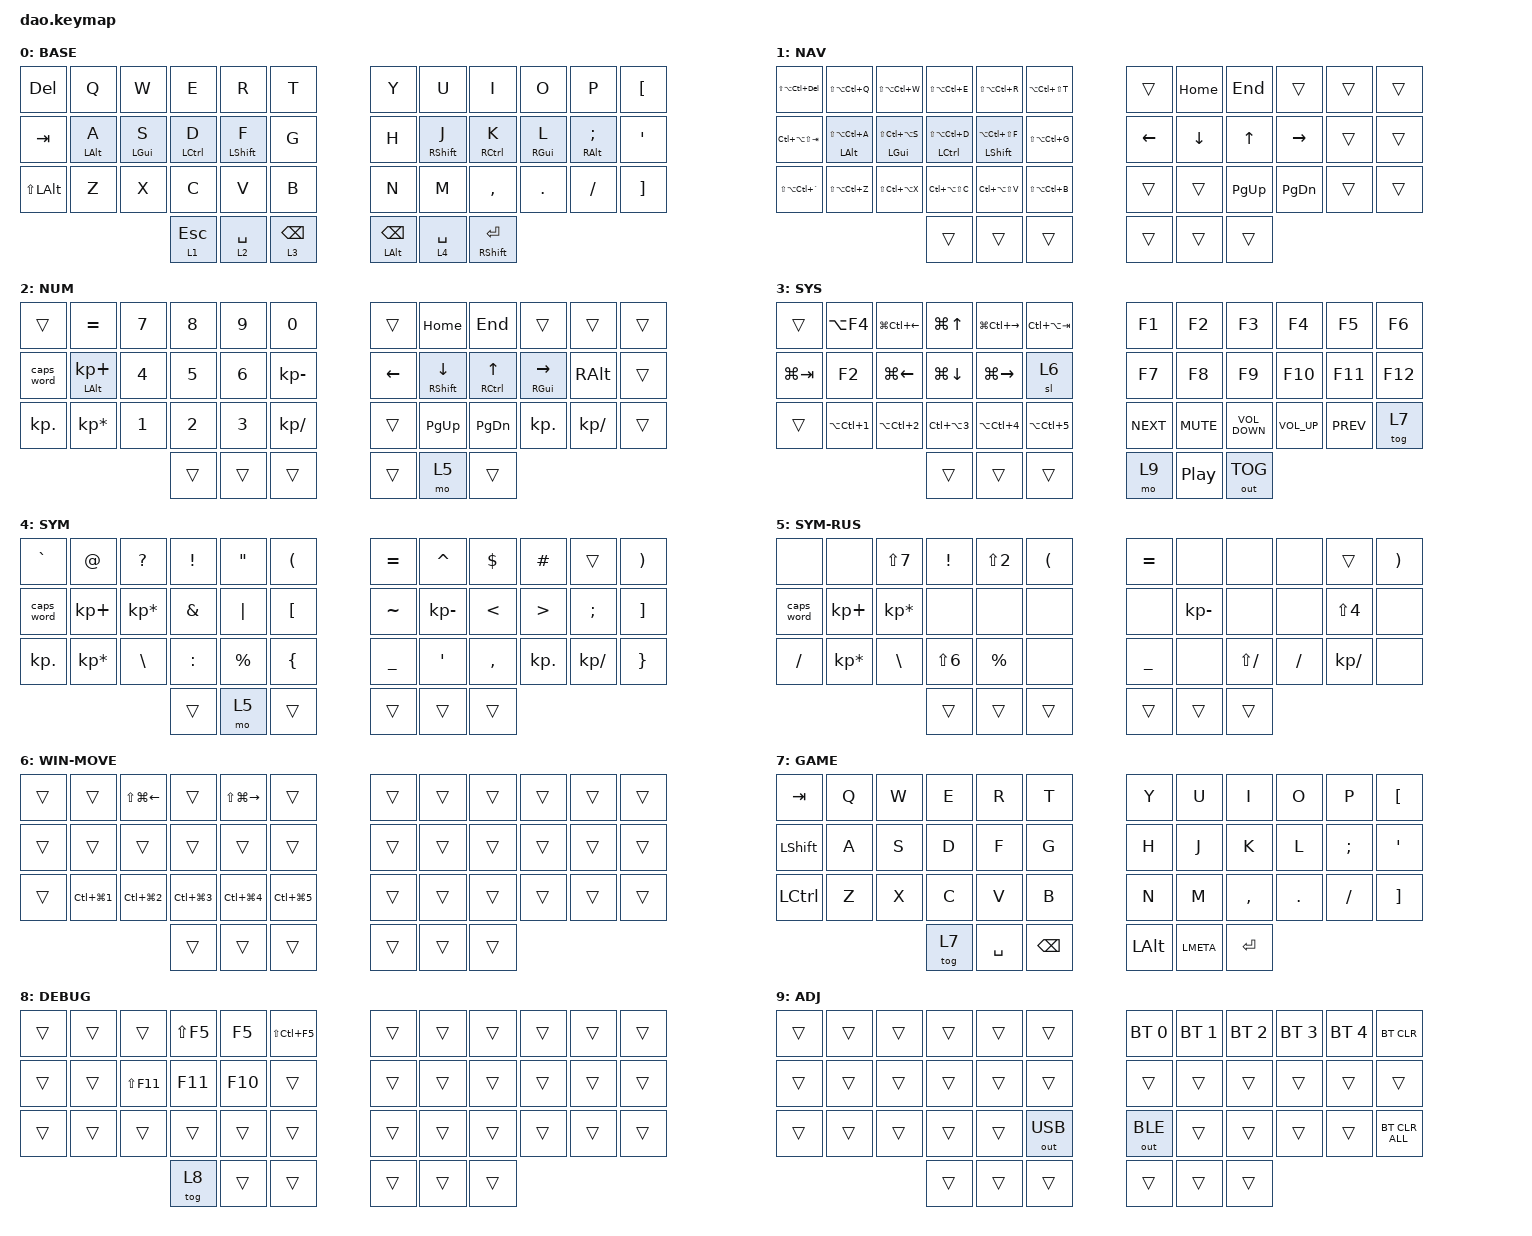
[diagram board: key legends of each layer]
/*
 * Copyright (c) 2021 Rafael Yumagulov
 *
 * SPDX-License-Identifier: MIT
 */

#include <behaviors.dtsi>
#include <dt-bindings/zmk/bt.h>
#include <dt-bindings/zmk/keys.h>
#include <dt-bindings/zmk/outputs.h>

&lt { quick_tap_ms = <200>; };

&mt { quick_tap_ms = <200>; };

/ {
    chosen {
        zmk,physical_layout = &dao_crkbd_layout;
        zmk,matrix-transform = <&default_transform>;

        // zmk,physical_layout = &dao_full_layout;
    };
};

// @  ?  "  &  |   [  :  {   ^  $  #  ~   <  >  ;  '  ,  .  /  }
// 64 63 34 38 124 91 58 123 94 36 35 126 60 62 59 39 44 46 47 125

/ {
    behaviors {
        parenthesis: parenthesis {
            compatible = "zmk,behavior-tap-dance";
            label = "parenthesis";
            #binding-cells = <0>;
            bindings = <&kp LEFT_PARENTHESIS>, <&kp RIGHT_PARENTHESIS>;
        };

        brackets: brackets {
            compatible = "zmk,behavior-tap-dance";
            label = "brackets";
            #binding-cells = <0>;
            bindings = <&kp LEFT_BRACKET>, <&kp RIGHT_BRACKET>;
        };

        braces: braces {
            compatible = "zmk,behavior-tap-dance";
            label = "braces";
            #binding-cells = <0>;
            bindings = <&kp LEFT_BRACE>, <&kp RIGHT_BRACE>;
        };

        mo_tog: mo_tog {
            compatible = "zmk,behavior-hold-tap";
            label = "mo_tog";
            bindings = <&mo>, <&tog>;

            #binding-cells = <2>;
            tapping-term-ms = <200>;
        };
    };

    combos {
        compatible = "zmk,combos";

        mo_tog_game {
            bindings = <&mo_tog 7 7>;
            key-positions = <38 37>;
        };

        mo_tog_debug {
            bindings = <&mo_tog 8 8>;
            key-positions = <36 37>;
        };
    };

    keymap {
        compatible = "zmk,keymap";

        base {
            display-name = "BASE";
            bindings = <
&kp DEL       &kp Q       &kp W       &kp E        &kp R         &kp T       &kp Y          &kp U        &kp I           &kp O       &kp P          &kp LBKT
&kp TAB       &mt LALT A  &mt LGUI S  &mt LCTRL D  &mt LSHIFT F  &kp G       &kp H          &mt RSHFT J  &mt RCTRL K     &mt RGUI L  &mt RALT SEMI  &kp SQT
&kp LS(LALT)  &kp Z       &kp X       &kp C        &kp V         &kp B       &kp N          &kp M        &kp COMMA       &kp DOT     &kp FSLH       &kp RBKT
                                      &lt 1 ESC    &lt 2 SPACE   &lt 3 BSPC  &mt LALT BSPC  &lt 4 SPACE  &mt RSHIFT RET
            >;
        };

        nav {
            display-name = "NAV";
            bindings = <
&kp LS(LA(LC(DEL)))    &kp LS(LA(LC(Q)))       &kp LS(LA(LC(W)))       &kp LS(LA(LC(E)))        &kp LS(LA(LC(R)))        &kp LA(LC(LS(T)))  &trans    &kp HOME  &kp END       &trans     &trans  &trans
&kp LC(LA(LS(TAB)))    &mt LALT LS(LA(LC(A)))  &mt LGUI LS(LC(LA(S)))  &mt LCTRL LS(LA(LC(D)))  &mt LSHFT LA(LC(LS(F)))  &kp LS(LA(LC(G)))  &kp LEFT  &kp DOWN  &kp UP_ARROW  &kp RIGHT  &trans  &trans
&kp LS(LA(LC(GRAVE)))  &kp LS(LA(LC(Z)))       &kp LS(LC(LA(X)))       &kp LC(LA(LS(C)))        &kp LC(LA(LS(V)))        &kp LS(LA(LC(B)))  &trans    &trans    &kp PG_UP     &kp PG_DN  &trans  &trans
                                                                       &trans                   &trans                   &trans             &trans    &trans    &trans
            >;
        };

        num {
            display-name = "NUM";
            bindings = <
&trans      &kp EQUAL         &kp N7  &kp N8  &kp N9  &kp N0         &trans    &kp HOME        &kp END       &trans          &trans        &trans
&caps_word  &mt LALT KP_PLUS  &kp N4  &kp N5  &kp N6  &kp KP_MINUS   &kp LEFT  &mt RSHFT DOWN  &mt RCTRL UP  &mt RGUI RIGHT  &kp RALT      &trans
&kp KP_DOT  &kp KP_ASTERISK   &kp N1  &kp N2  &kp N3  &kp KP_DIVIDE  &trans    &kp PG_UP       &kp PG_DN     &kp KP_DOT      &kp KP_SLASH  &trans
                                      &trans  &trans  &trans         &trans    &mo 5           &trans
            >;
        };

        sys {
            display-name = "SYS";
            bindings = <
&trans       &kp LA(F4)      &kp LG(LC(LEFT))  &kp LG(UP)      &kp LG(LC(RIGHT))  &kp LC(LA(TAB))  &kp F1      &kp F2      &kp F3             &kp F4        &kp F5      &kp F6
&kp LG(TAB)  &kp F2          &kp LG(LEFT)      &kp LG(DOWN)    &kp LG(RIGHT)      &sl 6            &kp F7      &kp F8      &kp F9             &kp F10       &kp F11     &kp F12
&trans       &kp LA(LC(N1))  &kp LA(LC(N2))    &kp LC(LA(N3))  &kp LA(LC(N4))     &kp LA(LC(N5))   &kp C_NEXT  &kp C_MUTE  &kp C_VOLUME_DOWN  &kp C_VOL_UP  &kp C_PREV  &tog 7
                                               &trans          &trans             &trans           &mo 9       &kp C_PP    &out OUT_TOG
            >;
        };

        sym {
            display-name = "SYM";
            bindings = <
&kp GRAVE   &kp AT           &kp QMARK        &kp EXCL   &kp DQT    &kp LPAR  &kp EQUAL  &kp CARET     &kp DLLR   &kp POUND   &trans        &kp RPAR
&caps_word  &kp KP_PLUS      &kp KP_ASTERISK  &kp AMPS   &kp PIPE   &kp LBKT  &kp TILDE  &kp KP_MINUS  &kp LT     &kp GT      &kp SEMI      &kp RBKT
&kp KP_DOT  &kp KP_MULTIPLY  &kp BSLH         &kp COLON  &kp PRCNT  &kp LBRC  &kp UNDER  &kp SQT       &kp COMMA  &kp KP_DOT  &kp KP_SLASH  &kp RBRC
                                              &trans     &mo 5      &trans    &trans     &trans        &trans
            >;
        };

        sym-rus {
            display-name = "SYM-RUS";
            bindings = <
&none       &none            &kp LS(N7)       &kp EXCL    &kp LS(N2)  &kp LPAR  &kp EQUAL  &none         &none          &none      &trans        &kp RPAR
&caps_word  &kp KP_PLUS      &kp KP_MULTIPLY  &none       &none       &none     &none      &kp KP_MINUS  &none          &none      &kp LS(N4)    &none
&kp SLASH   &kp KP_MULTIPLY  &kp BSLH         &kp LS(N6)  &kp PRCNT   &none     &kp UNDER  &none         &kp LS(SLASH)  &kp SLASH  &kp KP_SLASH  &none
                                              &trans      &trans      &trans    &trans     &trans        &trans
            >;
        };

        win-move {
            display-name = "WIN-MOVE";
            bindings = <
&trans  &trans          &kp LS(LG(LEFT))  &trans          &kp LS(LG(RIGHT))  &trans          &trans  &trans  &trans  &trans  &trans  &trans
&trans  &trans          &trans            &trans          &trans             &trans          &trans  &trans  &trans  &trans  &trans  &trans
&trans  &kp LC(LG(N1))  &kp LC(LG(N2))    &kp LC(LG(N3))  &kp LC(LG(N4))     &kp LC(LG(N5))  &trans  &trans  &trans  &trans  &trans  &trans
                                          &trans          &trans             &trans          &trans  &trans  &trans
            >;
        };

        game {
            display-name = "GAME";
            bindings = <
&kp TAB    &kp Q  &kp W  &kp E   &kp R      &kp T     &kp Y     &kp U      &kp I      &kp O    &kp P     &kp LBKT
&kp LSHFT  &kp A  &kp S  &kp D   &kp F      &kp G     &kp H     &kp J      &kp K      &kp L    &kp SEMI  &kp SQT
&kp LCTRL  &kp Z  &kp X  &kp C   &kp V      &kp B     &kp N     &kp M      &kp COMMA  &kp DOT  &kp FSLH  &kp RBKT
                         &tog 7  &kp SPACE  &kp BSPC  &kp LALT  &kp LMETA  &kp ENTER
            >;
        };

        debug {
            display-name = "DEBUG";
            bindings = <
&trans  &trans  &trans       &kp LS(F5)  &kp F5   &kp LS(LC(F5))  &trans  &trans  &trans  &trans  &trans  &trans
&trans  &trans  &kp LS(F11)  &kp F11     &kp F10  &trans          &trans  &trans  &trans  &trans  &trans  &trans
&trans  &trans  &trans       &trans      &trans   &trans          &trans  &trans  &trans  &trans  &trans  &trans
                             &tog 8      &trans   &trans          &trans  &trans  &trans
            >;
        };

        adj {
            display-name = "ADJ";
            bindings = <
&trans  &trans  &trans  &trans  &trans  &trans        &bt BT_SEL 0  &bt BT_SEL 1  &bt BT_SEL 2  &bt BT_SEL 3  &bt BT_SEL 4  &bt BT_CLR
&trans  &trans  &trans  &trans  &trans  &trans        &trans        &trans        &trans        &trans        &trans        &trans
&trans  &trans  &trans  &trans  &trans  &out OUT_USB  &out OUT_BLE  &trans        &trans        &trans        &trans        &bt BT_CLR_ALL
                        &trans  &trans  &trans        &trans        &trans        &trans
            >;
        };
    };
};
